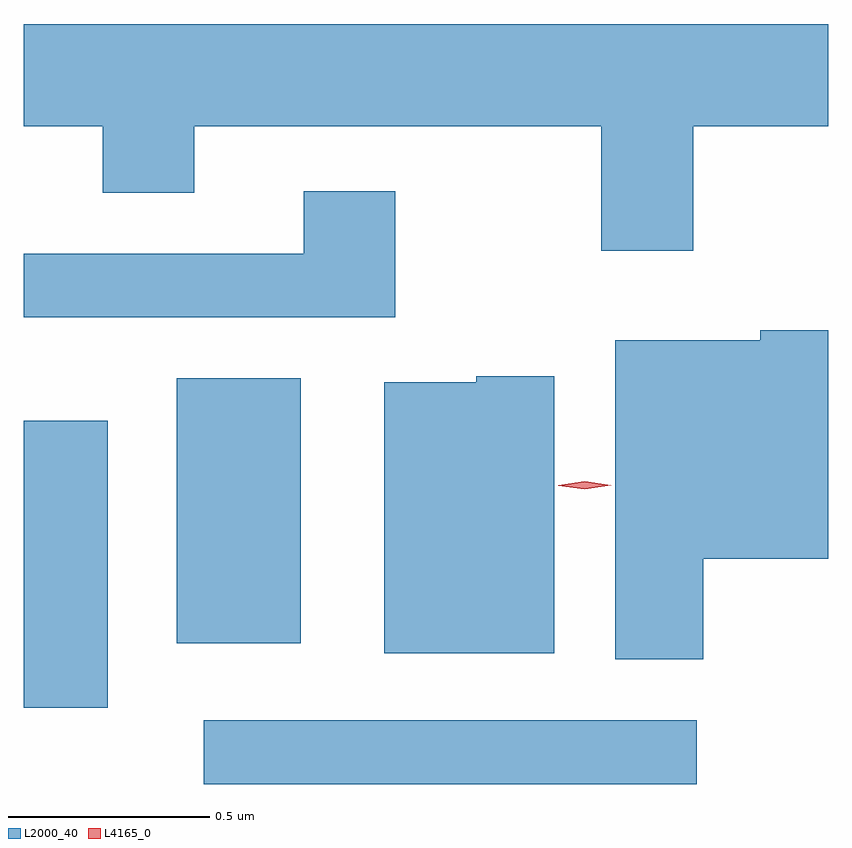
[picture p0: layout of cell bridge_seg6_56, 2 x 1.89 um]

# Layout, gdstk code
import gdstk
lib = gdstk.Library(unit=1e-6, precision=1e-09)
def R(c, l, rs):  # rectangles x0, y0, x1, y1
    for r in rs: c.add(gdstk.rectangle(r[:2], r[2:], *l))
def P(c, l, *ps):  # polygons
    for p in ps: c.add(gdstk.Polygon(p, *l))
L2000_40 = (2000, 40)
L4165_0 = (4165, 0)

bridge_seg6_56 = lib.new_cell('bridge_seg6_56')
R(bridge_seg6_56, L2000_40, [(1690.183,1588.361,1691.408,1588.519), (1689.735,1588.551,1689.944,1589.264), (1690.116,1588.711,1690.424,1589.369)])
P(bridge_seg6_56, L2000_40, [(1691.399,1589.996),(1691.735,1589.996),(1691.735,1590.25),(1689.735,1590.25),(1689.735,1589.996),(1689.931,1589.996),(1689.931,1589.831),(1690.159,1589.831),(1690.159,1589.996),(1691.171,1589.996),(1691.171,1589.686),(1691.399,1589.686)],
  [(1690.659,1589.834),(1690.431,1589.834),(1690.431,1589.679),(1689.735,1589.679),(1689.735,1589.521),(1690.659,1589.521)],
  [(1691.424,1588.921),(1691.735,1588.921),(1691.735,1589.489),(1691.566,1589.489),(1691.566,1589.464),(1691.206,1589.464),(1691.206,1588.671),(1691.424,1588.671)],
  [(1691.054,1589.374),(1690.86,1589.374),(1690.86,1589.359),(1690.631,1589.359),(1690.631,1588.686),(1691.054,1588.686)])
P(bridge_seg6_56, L4165_0, [(1691.13,1589.093),(1691.064,1589.102),(1691.064,1589.102),(1691.064,1589.103),(1691.13,1589.113),(1691.196,1589.104),(1691.196,1589.104),(1691.196,1589.103)])

lib.write_gds('bridge_seg6_56.gds')
